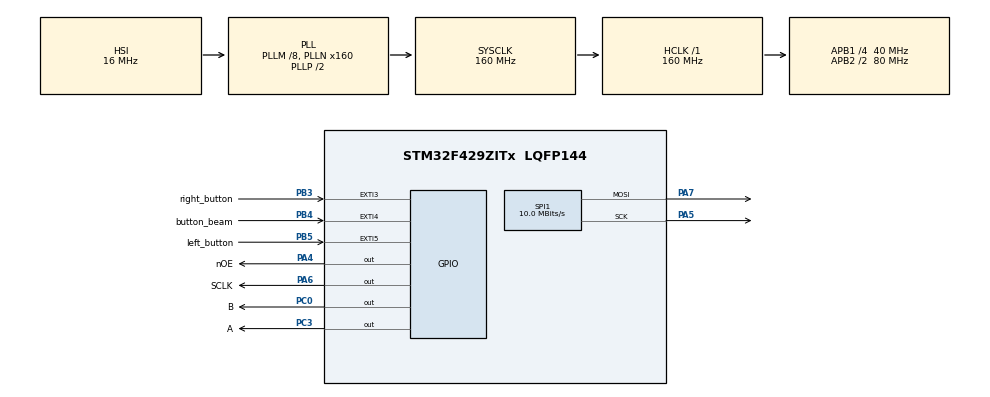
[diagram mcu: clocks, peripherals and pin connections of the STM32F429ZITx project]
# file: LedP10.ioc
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Mcu.Family=STM32F4
Mcu.Name=STM32F429ZITx
Mcu.Package=LQFP144
NVIC.EXTI3_IRQn=true\:0\:0\:false\:false\:true\:true\:true\:true
NVIC.EXTI4_IRQn=true\:0\:0\:false\:false\:true\:true\:true\:true
NVIC.EXTI9_5_IRQn=true\:0\:0\:false\:false\:true\:true\:true\:true
NVIC.PriorityGroup=NVIC_PRIORITYGROUP_4
NVIC.TIM1_UP_TIM10_IRQn=true\:0\:0\:false\:false\:true\:true\:true\:true
NVIC.TIM2_IRQn=true\:0\:0\:false\:false\:true\:true\:true\:true
PA13.Mode=Serial_Wire
PA13.Signal=SYS_JTMS-SWDIO
PA14.Mode=Serial_Wire
PA14.Signal=SYS_JTCK-SWCLK
PA4.GPIO_Label=nOE
PA4.Signal=GPIO_Output
PA5.Mode=TX_Only_Simplex_Unidirect_Master
PA5.Signal=SPI1_SCK
PA6.GPIO_Label=SCLK
PA6.Signal=GPIO_Output
PA7.Mode=TX_Only_Simplex_Unidirect_Master
PA7.Signal=SPI1_MOSI
PB3.GPIO_Label=right_button
PB3.Signal=GPXTI3
PB4.GPIO_Label=button_beam
PB4.GPIO_ModeDefaultEXTI=GPIO_MODE_IT_RISING
PB4.Signal=GPXTI4
PB5.GPIO_Label=left_button
PB5.Signal=GPXTI5
PC0.GPIO_Label=B
PC0.Signal=GPIO_Output
PC3.GPIO_Label=A
PC3.Signal=GPIO_Output
PH0/OSC_IN.Mode=HSE-External-Oscillator
PH0/OSC_IN.Signal=RCC_OSC_IN
PH1/OSC_OUT.Mode=HSE-External-Oscillator
PH1/OSC_OUT.Signal=RCC_OSC_OUT
ProjectManager.HeapSize=0x200
ProjectManager.StackSize=0x400
ProjectManager.TargetToolchain=STM32CubeIDE
RCC.48MHZClocksFreq_Value=80000000
RCC.AHBFreq_Value=160000000
RCC.APB1CLKDivider=RCC_HCLK_DIV4
RCC.APB1Freq_Value=40000000
RCC.APB1TimFreq_Value=80000000
RCC.APB2CLKDivider=RCC_HCLK_DIV2
RCC.APB2Freq_Value=80000000
RCC.APB2TimFreq_Value=160000000
RCC.CortexFreq_Value=160000000
RCC.HCLKFreq_Value=160000000
RCC.HSE_VALUE=25000000
RCC.HSI_VALUE=16000000
RCC.LSE_VALUE=32768
RCC.PLLM=8
RCC.PLLN=160
RCC.SYSCLKFreq_VALUE=160000000
RCC.SYSCLKSource=RCC_SYSCLKSOURCE_PLLCLK
RCC.VCOOutputFreq_Value=320000000
SPI1.BaudRatePrescaler=SPI_BAUDRATEPRESCALER_8
SPI1.CalculateBaudRate=10.0 MBits/s
SPI1.Direction=SPI_DIRECTION_2LINES
SPI1.Mode=SPI_MODE_MASTER
SPI1.VirtualType=VM_MASTER
TIM1.Period=1000-1
TIM1.Prescaler=40000-1
TIM1.RepetitionCounter=0
TIM2.Period=1000-1
TIM2.Prescaler=40000-1
VP_TIM1_VS_ClockSourceINT.Mode=Internal
VP_TIM2_VS_ClockSourceINT.Mode=Internal
board=custom

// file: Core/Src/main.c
/* USER CODE BEGIN Header */
/**
  ******************************************************************************
  * @file           : main.c
  * @brief          : Main program body
  ******************************************************************************
  * @attention
  *
  * Copyright (c) 2023 STMicroelectronics.
  * All rights reserved.
  *
  * This software is licensed under terms that can be found in the LICENSE file
  * in the root directory of this software component.
  * If no LICENSE file comes with this software, it is provided AS-IS.
  *
  ******************************************************************************
  */
/* USER CODE END Header */
#include "main.h"
#include "spi.h"
#include "tim.h"
#include "gpio.h"

/* USER CODE BEGIN Includes */
#include "disp1color.h"
/* USER CODE END Includes */

/* USER CODE BEGIN PV */

uint8_t data[16];
uint8_t led_matrix[16][32];
volatile uint16_t counter_bullet = 0;
uint16_t x_bullets[27];
uint16_t y_bullets[27];
uint8_t stage = 1;
uint8_t number_enemy;

uint8_t game_over = 0;
uint8_t replay;
uint16_t flag_draw[3];

uint16_t array_enemy[3][2];

volatile uint16_t x_start = 1;
volatile uint16_t y_start = 2;
volatile uint16_t x_aircraft, y_aircraft;
volatile uint16_t x_head_aircratf, y_head_aircratf;
volatile uint16_t x_beam, y_beam;
volatile uint8_t state_beam, state_left, state_right, f_beam;

volatile uint8_t state_draw = 0 ;
volatile uint16_t x_enemy, y_enemy;

extern uint8_t data1[16], data2[16], data3[16], data4[16];

//object
uint8_t aircrafts[5][4];
uint8_t enemy_aircrafts[3][3];
uint8_t enemy_boss[5][4];
uint8_t beam[1][1];

/* enemy_boss =
 * 1 1 1 1 1
 * 1 1 1 1 1
 * 1 1 0 1 1
 * 0 1 0 1 0
 */
//enemy_boss[0][0] = 1;
//enemy_boss[0][1] = 1;
//enemy_boss[0][2] = 1;
//enemy_boss[1][0] = 1;
//enemy_boss[1][1] = 1;
//enemy_boss[1][2] = 1;
//enemy_boss[1][3] = 1;
//enemy_boss[2][0] = 1;
//enemy_boss[2][1] = 1;
//enemy_boss[3][0] = 1;
//enemy_boss[3][1] = 1;
//enemy_boss[3][2] = 1;
//enemy_boss[3][3] = 1;
//enemy_boss[4][0] = 1;
//enemy_boss[4][1] = 1;
//enemy_boss[4][2] = 1;
//enemy_boss[4][3] = 1;

/* beam =
 * 1
 * 1
 */
//beam[0][0] = 1;
//beam[0][1] = 1;

//set ping led_matrix
void generate_ledmatrix()
{
	for(int i = 0; i < 16; i++)
	{
		for( int j = 0; j < 32; j++)
		{
			led_matrix[i][j] = 0;
		}
	}
}
//plush aircraft_mmatrix with led_matrix
void draw_aircraft(uint16_t x_a, uint16_t y_a){
	for (int i = 0; i < 5; i++){
		for (int j = 0; j < 4; j++){
//			led_matrix[y_a+i][x_a+j] |= aircrafts[i][j];
			if (aircrafts[i][j] == 1){
				led_matrix[y_a+i][x_a+j] = 1;
			}
		}
	}

}
//plush enemy_aircraft_mmatrix with led_matrix
void draw_enemy_aircraft(uint16_t x_ea, uint16_t y_ea){

//	for (int i=0; i < 3; i++){
//	  	for (int j=0; j<3; j++){
////	  		if (led_matrix[y_ea+i][x_ea+j] == 1){
////	  			state_draw = 1;
////	  		}
//	  		led_matrix[y_ea+i][x_ea+j] |= enemy_aircrafts[i][j];
////	  		if (enemy_aircrafts[i][j] == 1){
////	  			led_matrix[y_ea+i][x_ea+j] = 1;
////	  		}
//	  	}
//	}
//	if (state_draw == 0){
//		for (int i=0; i < 3; i++){
//			for (int j=0; j<3; j++){
//				led_matrix[y_ea+i][x_ea+j] |= enemy_aircrafts[i][j];
//			}
//		}
//	}

		for (int i=0; i < 3; i++){
			for (int j=0; j<3; j++){
				led_matrix[y_ea+i][x_ea+j] |= enemy_aircrafts[i][j];
			}
		}
}
//plush beam_mmatrix with led_matrix
void draw_beam(uint16_t x_b, uint16_t y_b){
	for(int i = 0; i < 1; i++){
		for (int j = 0; j < 1; j++){
	  		if (beam[i][j] == 1){
	  			led_matrix[y_b+i][x_b+j] = 1;
	  		}
		}
	}

//	uint16_t temp = x_b;
//	if (f_beam == 1){
//		led_matrix[y_b][temp] = 1;
//	}else{
//		led_matrix[y_b][temp] = 0;
//		x_b++;
//	}
}
//update_led_panel
void disp_row(int row){

	  if (row == 0){

		  for(uint8_t i=0; i<6; i++){
		  		HAL_SPI_Transmit(&hspi1, &data1, 16, 10);
		  }

		  HAL_GPIO_WritePin(GPIOA, SCLK_Pin, GPIO_PIN_RESET);
		  HAL_GPIO_WritePin(GPIOA, SCLK_Pin, GPIO_PIN_SET);

		  HAL_GPIO_WritePin(GPIOC, A_Pin, GPIO_PIN_RESET);
		  HAL_GPIO_WritePin(GPIOC, B_Pin, GPIO_PIN_RESET);
	  }
	  if (row == 1){

		  for(uint8_t i=0; i<6; i++){
		  		HAL_SPI_Transmit(&hspi1, &data2, 16, 10);
		  }

		  HAL_GPIO_WritePin(GPIOA, SCLK_Pin, GPIO_PIN_RESET);
		  HAL_GPIO_WritePin(GPIOA, SCLK_Pin, GPIO_PIN_SET);

		  HAL_GPIO_WritePin(GPIOC, A_Pin, GPIO_PIN_SET);
		  HAL_GPIO_WritePin(GPIOC, B_Pin, GPIO_PIN_RESET);
	  }

	  if (row == 2){

		  for(uint8_t i=0; i<6; i++){
		  		HAL_SPI_Transmit(&hspi1, &data3, 16, 10);
		  }

		  HAL_GPIO_WritePin(GPIOA, SCLK_Pin, GPIO_PIN_RESET);
		  HAL_GPIO_WritePin(GPIOA, SCLK_Pin, GPIO_PIN_SET);

		  HAL_GPIO_WritePin(GPIOC, A_Pin, GPIO_PIN_RESET);
		  HAL_GPIO_WritePin(GPIOC, B_Pin, GPIO_PIN_SET);
	  }

	  if (row == 3){

		  for(uint8_t i=0; i<6; i++){
		  		HAL_SPI_Transmit(&hspi1, &data4, 16, 10);
		  }

		  HAL_GPIO_WritePin(GPIOA, SCLK_Pin, GPIO_PIN_RESET);
		  HAL_GPIO_WritePin(GPIOA, SCLK_Pin, GPIO_PIN_SET);

		  HAL_GPIO_WritePin(GPIOC, A_Pin, GPIO_PIN_SET);
		  HAL_GPIO_WritePin(GPIOC, B_Pin, GPIO_PIN_SET);
	  }

	  HAL_GPIO_WritePin(GPIOA, nOE_Pin, GPIO_PIN_SET);
		  for(uint32_t x=0; x<=500; x++) {};
	 HAL_GPIO_WritePin(GPIOA, nOE_Pin, GPIO_PIN_RESET);
  }
  // turn left = go up
void turn_left_aka_go_up(){

}
  //turn right = go down
void turn_right_aka_go_down(){

}
//void beam_start(){
//	if(HAL_GPIO_ReadPin(GPIOB, button_beam_Pin) == GPIO_PIN_SET){
//		state_beam = 1;
//	}
//}
/* USER CODE END PV */

void SystemClock_Config(void);

int main(void)
{

  /* MCU Configuration--------------------------------------------------------*/

  /* Reset of all peripherals, Initializes the Flash interface and the Systick. */
  HAL_Init();

  /* Configure the system clock */
  SystemClock_Config();

  /* Initialize all configured peripherals */
  MX_GPIO_Init();
  MX_SPI1_Init();
  MX_TIM1_Init();
  MX_TIM2_Init();
  /* USER CODE BEGIN 2 */
  HAL_TIM_Base_Start_IT(&htim1);
  HAL_TIM_Base_Start_IT(&htim2);
  HAL_GPIO_WritePin(GPIOA, nOE_Pin, GPIO_PIN_RESET);
  /* USER CODE END 2 */

  /* Infinite loop */
  /* USER CODE BEGIN WHILE */

  //draw matrix_aircraft
  /* aircarfts =
    *  1 0 0 0
    *  1 1 1 0
    *  1 1 1 1
    *  1 1 1 0
    *  1 0 0 0
 */
  for (int i = 0; i < 5; i++){
 	  	for (int j = 0; j < 4; j++){
 	  		aircrafts[i][j] = 0;
 	  	}
 	  }
  aircrafts[0][0] = 1;
  aircrafts[1][0] = 1;
  aircrafts[1][1] = 1;
  aircrafts[1][2] = 1;
  aircrafts[2][0] = 1;
  aircrafts[2][1] = 1;
  aircrafts[2][2] = 1;
  aircrafts[2][3] = 1;
  aircrafts[3][0] = 1;
  aircrafts[3][1] = 1;
  aircrafts[3][2] = 1;
  aircrafts[4][0] = 1;

  //draw matrix_enemy_aircrafts
  /* enemy_aircrafts =
   * 0 0 1
   * 0 1 1
   * 0 0 1
   */
  for (int i=0; i < 3; i++){
	  for (int j=0; j<3; j++){
 		enemy_aircrafts[i][j] = 0;
	  }
  }
  enemy_aircrafts[0][2] = 1;
  enemy_aircrafts[1][1] = 1;
  enemy_aircrafts[1][2] = 1;
  enemy_aircrafts[2][2] = 1;
  //draw matrix_beam
  beam[0][0] = 1;
//  beam[0][1] = 1;

  x_beam = x_start + 5;
  y_beam = y_start + 2;

  x_enemy = 15;
  y_enemy = 7;

  for (int i = 0; i<15; i++){
	  flag_draw[i] = 0;
  }

  array_enemy[0][0] = 28;
  array_enemy[0][1] =  1;
  array_enemy[1][0] = 28;
  array_enemy[1][1] =  5;
  array_enemy[2][0] = 28;
  array_enemy[2][1] =  9;

  while (1)
  {
	  //generate led matrix 32*16
	  generate_ledmatrix();

	  //draw aircraft in led matrix
	  draw_aircraft(x_start,y_start);

	  //update beam in led matrix

	  for (int i = 0; i < counter_bullet; i++){
		  if (x_bullets[i] != 0){
			  if ((x_bullets[i] <= 31) && (led_matrix[x_bullets[i]+2][2]!= 1)) {
				  draw_beam(x_bullets[i], y_bullets[i]);
			  }
			  else
			  {
				  led_matrix[x_bullets[i]][2] = 0;
			  }
		  }
	  }

	  //draw enemy in led matrix
	  for (int k = 0; k < 3; k++ ){
		  for (int i=0; i < 3; i++){
			  for (int j=0; j<3; j++){
				  if (led_matrix[array_enemy[k][1]+i][array_enemy[k][0]+j] == 1){
					  flag_draw[k] = 1;
					  for ( int t = 0; t < 27; t++){
						  if (x_bullets[t] == array_enemy[k][1]+i){
							  x_bullets[t] = 0;
						  }
					  }
				  }
			  }
		  }
	  }
	  for (int k = 0; k<3; k++){
		  if (flag_draw[k] == 0){
			  draw_enemy_aircraft(array_enemy[k][0], array_enemy[k][1]);
		  }
	  }

//	  for (int i=0; i < 3; i++){
//		  for (int j=0; j<3; j++){
//			  if (led_matrix[y_enemy+i][x_enemy+j] == 1){
//				  state_draw = 1;
//			  }
//			  else{
//				  state_draw = 0;
//			  }
//		  }
//	  }

//	  draw_enemy_aircraft(15, 2);
//	  draw_enemy_aircraft(15, 8);
//	  draw_enemy_aircraft(15, 13);

//	  for (int i = 0; i < 27; i++){
//		  if (x_bullets[i] != 0){
//			  counter_bullet++;
//		  }
//	  }

//	  if(HAL_GPIO_ReadPin(GPIOB, button_beam_Pin) == GPIO_PIN_SET){
//		  x_bullets[counter_bullet] = x_beam;
//		  counter_bullet++;
////		  draw_beam(x_beam, 8);
//	  }

	  //udapte matrix for draw
	  disp1color_FillScreenbuff(0);
	  for(int16_t i = 0; i < 16; i++){
		  for(int16_t j = 0; j < 32; j++){
			  if (led_matrix[i][j])
			  disp1color_DrawLine(j, i, j, i);
		  }
	  }

	  disp1color_UpdateFromBuff();
	  prepare_data();
	  disp_row(0);
	  disp_row(1);
	  disp_row(2);
	  disp_row(3);

	  //text matrix_led
//	  draw_aircraft(3,8);
//	  draw_enemy_aircraft(16,8);
//	  draw_beam(10,8);
//	  update_led();
	  //main_code
//	  while(!game_over){
//		  switch (stage)
//		  {
//		  case 1:
//			  number_enemy = 3;
//			  break;
//		  case 2:
//			  number_enemy = 5;
//			  break;
//		  }
//		  for ( int i = 0; i < number_enemy; i++){
//			  draw_enemy_aircraft(24, 3 + 4*i);
//		  }
//		  update_led();
//	  }

    /* USER CODE END WHILE */

  }
}

void SystemClock_Config(void)
{
  RCC_OscInitTypeDef RCC_OscInitStruct = {0};
  RCC_ClkInitTypeDef RCC_ClkInitStruct = {0};

  /** Configure the main internal regulator output voltage
  */
  __HAL_RCC_PWR_CLK_ENABLE();
  __HAL_PWR_VOLTAGESCALING_CONFIG(PWR_REGULATOR_VOLTAGE_SCALE1);

  /** Initializes the RCC Oscillators according to the specified parameters
  * in the RCC_OscInitTypeDef structure.
  */
  RCC_OscInitStruct.OscillatorType = RCC_OSCILLATORTYPE_HSI;
  RCC_OscInitStruct.HSIState = RCC_HSI_ON;
  RCC_OscInitStruct.HSICalibrationValue = RCC_HSICALIBRATION_DEFAULT;
  RCC_OscInitStruct.PLL.PLLState = RCC_PLL_ON;
  RCC_OscInitStruct.PLL.PLLSource = RCC_PLLSOURCE_HSI;
  RCC_OscInitStruct.PLL.PLLM = 8;
  RCC_OscInitStruct.PLL.PLLN = 160;
  RCC_OscInitStruct.PLL.PLLP = RCC_PLLP_DIV2;
  RCC_OscInitStruct.PLL.PLLQ = 4;
  if (HAL_RCC_OscConfig(&RCC_OscInitStruct) != HAL_OK)
  {
    Error_Handler();
  }

  /** Initializes the CPU, AHB and APB buses clocks
  */
  RCC_ClkInitStruct.ClockType = RCC_CLOCKTYPE_HCLK|RCC_CLOCKTYPE_SYSCLK
                              |RCC_CLOCKTYPE_PCLK1|RCC_CLOCKTYPE_PCLK2;
  RCC_ClkInitStruct.SYSCLKSource = RCC_SYSCLKSOURCE_PLLCLK;
  RCC_ClkInitStruct.AHBCLKDivider = RCC_SYSCLK_DIV1;
  RCC_ClkInitStruct.APB1CLKDivider = RCC_HCLK_DIV4;
  RCC_ClkInitStruct.APB2CLKDivider = RCC_HCLK_DIV2;

  if (HAL_RCC_ClockConfig(&RCC_ClkInitStruct, FLASH_LATENCY_5) != HAL_OK)
  {
    Error_Handler();
  }
}

void Error_Handler(void)
{
  __disable_irq();
  while (1)
  {
  }
}
